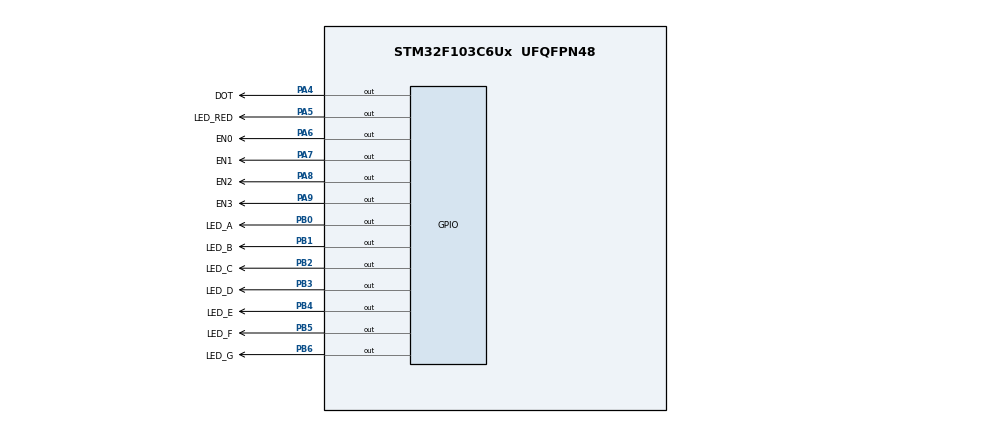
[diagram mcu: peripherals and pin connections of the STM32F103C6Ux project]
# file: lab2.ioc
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Mcu.Family=STM32F1
Mcu.Name=STM32F103C6Ux
Mcu.Package=UFQFPN48
NVIC.PriorityGroup=NVIC_PRIORITYGROUP_4
NVIC.TIM2_IRQn=true\:0\:0\:false\:false\:true\:true\:true
PA4.GPIO_Label=DOT
PA4.Signal=GPIO_Output
PA5.GPIO_Label=LED_RED
PA5.Signal=GPIO_Output
PA6.GPIO_Label=EN0
PA6.Signal=GPIO_Output
PA7.GPIO_Label=EN1
PA7.Signal=GPIO_Output
PA8.GPIO_Label=EN2
PA8.Signal=GPIO_Output
PA9.GPIO_Label=EN3
PA9.Signal=GPIO_Output
PB0.GPIO_Label=LED_A
PB0.Signal=GPIO_Output
PB1.GPIO_Label=LED_B
PB1.Signal=GPIO_Output
PB2.GPIO_Label=LED_C
PB2.Signal=GPIO_Output
PB3.GPIO_Label=LED_D
PB3.Signal=GPIO_Output
PB4.GPIO_Label=LED_E
PB4.Signal=GPIO_Output
PB5.GPIO_Label=LED_F
PB5.Signal=GPIO_Output
PB6.GPIO_Label=LED_G
PB6.Signal=GPIO_Output
ProjectManager.HeapSize=0x200
ProjectManager.StackSize=0x400
ProjectManager.TargetToolchain=STM32CubeIDE
RCC.APB1Freq_Value=8000000
RCC.APB2Freq_Value=8000000
TIM2.Period=9
TIM2.Prescaler=7999
VP_SYS_VS_ND.Mode=No_Debug
VP_TIM2_VS_ClockSourceINT.Mode=Internal
board=custom

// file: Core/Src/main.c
/* USER CODE BEGIN Header */
/**
  ******************************************************************************
  * @file           : main.c
  * @brief          : Main program body
  ******************************************************************************
  * @attention
  *
  * <h2><center>&copy; Copyright (c) 2022 STMicroelectronics.
  * All rights reserved.</center></h2>
  *
  * This software component is licensed by ST under BSD 3-Clause license,
  * the "License"; You may not use this file except in compliance with the
  * License. You may obtain a copy of the License at:
  *                        opensource.org/licenses/BSD-3-Clause
  *
  ******************************************************************************
  */
/* USER CODE END Header */
#include "main.h"
#include "software_timer.h"

TIM_HandleTypeDef htim2;

void SystemClock_Config(void);
static void MX_GPIO_Init(void);
static void MX_TIM2_Init(void);

/* USER CODE BEGIN 0 */
/* USER CODE BEGIN 0 */
void display7SEG(int num){
	if (num == 0){
		HAL_GPIO_WritePin(LED_A_GPIO_Port, LED_A_Pin, GPIO_PIN_RESET);
		HAL_GPIO_WritePin(LED_B_GPIO_Port, LED_B_Pin, GPIO_PIN_RESET);
		HAL_GPIO_WritePin(LED_C_GPIO_Port, LED_C_Pin, GPIO_PIN_RESET);
		HAL_GPIO_WritePin(LED_D_GPIO_Port, LED_D_Pin, GPIO_PIN_RESET);
		HAL_GPIO_WritePin(LED_E_GPIO_Port, LED_E_Pin, GPIO_PIN_RESET);
		HAL_GPIO_WritePin(LED_F_GPIO_Port, LED_F_Pin, GPIO_PIN_RESET);
		HAL_GPIO_WritePin(LED_G_GPIO_Port, LED_G_Pin, GPIO_PIN_SET);
	}
	else  if (num == 1){
		HAL_GPIO_WritePin(LED_A_GPIO_Port, LED_A_Pin, GPIO_PIN_SET);
		HAL_GPIO_WritePin(LED_B_GPIO_Port, LED_B_Pin, GPIO_PIN_RESET);
		HAL_GPIO_WritePin(LED_C_GPIO_Port, LED_C_Pin, GPIO_PIN_RESET);
		HAL_GPIO_WritePin(LED_D_GPIO_Port, LED_D_Pin, GPIO_PIN_SET);
		HAL_GPIO_WritePin(LED_E_GPIO_Port, LED_E_Pin, GPIO_PIN_SET);
		HAL_GPIO_WritePin(LED_F_GPIO_Port, LED_F_Pin, GPIO_PIN_SET);
		HAL_GPIO_WritePin(LED_G_GPIO_Port, LED_G_Pin, GPIO_PIN_SET);
	}
	else  if (num == 2){
		HAL_GPIO_WritePin(LED_A_GPIO_Port, LED_A_Pin, GPIO_PIN_RESET);
		HAL_GPIO_WritePin(LED_B_GPIO_Port, LED_B_Pin, GPIO_PIN_RESET);
		HAL_GPIO_WritePin(LED_C_GPIO_Port, LED_C_Pin, GPIO_PIN_SET);
		HAL_GPIO_WritePin(LED_D_GPIO_Port, LED_D_Pin, GPIO_PIN_RESET);
		HAL_GPIO_WritePin(LED_E_GPIO_Port, LED_E_Pin, GPIO_PIN_RESET);
		HAL_GPIO_WritePin(LED_F_GPIO_Port, LED_F_Pin, GPIO_PIN_SET);
		HAL_GPIO_WritePin(LED_G_GPIO_Port, LED_G_Pin, GPIO_PIN_RESET);
	}
	else  if (num == 3){
		HAL_GPIO_WritePin(LED_A_GPIO_Port, LED_A_Pin, GPIO_PIN_RESET);
		HAL_GPIO_WritePin(LED_B_GPIO_Port, LED_B_Pin, GPIO_PIN_RESET);
		HAL_GPIO_WritePin(LED_C_GPIO_Port, LED_C_Pin, GPIO_PIN_RESET);
		HAL_GPIO_WritePin(LED_D_GPIO_Port, LED_D_Pin, GPIO_PIN_RESET);
		HAL_GPIO_WritePin(LED_E_GPIO_Port, LED_E_Pin, GPIO_PIN_SET);
		HAL_GPIO_WritePin(LED_F_GPIO_Port, LED_F_Pin, GPIO_PIN_SET);
		HAL_GPIO_WritePin(LED_G_GPIO_Port, LED_G_Pin, GPIO_PIN_RESET);
	}
	else  if (num == 4){
		HAL_GPIO_WritePin(LED_A_GPIO_Port, LED_A_Pin, GPIO_PIN_SET);
		HAL_GPIO_WritePin(LED_B_GPIO_Port, LED_B_Pin, GPIO_PIN_RESET);
		HAL_GPIO_WritePin(LED_C_GPIO_Port, LED_C_Pin, GPIO_PIN_RESET);
		HAL_GPIO_WritePin(LED_D_GPIO_Port, LED_D_Pin, GPIO_PIN_SET);
		HAL_GPIO_WritePin(LED_E_GPIO_Port, LED_E_Pin, GPIO_PIN_SET);
		HAL_GPIO_WritePin(LED_F_GPIO_Port, LED_F_Pin, GPIO_PIN_RESET);
		HAL_GPIO_WritePin(LED_G_GPIO_Port, LED_G_Pin, GPIO_PIN_RESET);
	}
	else  if (num == 5){
		HAL_GPIO_WritePin(LED_A_GPIO_Port, LED_A_Pin, GPIO_PIN_RESET);
		HAL_GPIO_WritePin(LED_B_GPIO_Port, LED_B_Pin, GPIO_PIN_SET);
		HAL_GPIO_WritePin(LED_C_GPIO_Port, LED_C_Pin, GPIO_PIN_RESET);
		HAL_GPIO_WritePin(LED_D_GPIO_Port, LED_D_Pin, GPIO_PIN_RESET);
		HAL_GPIO_WritePin(LED_E_GPIO_Port, LED_E_Pin, GPIO_PIN_SET);
		HAL_GPIO_WritePin(LED_F_GPIO_Port, LED_F_Pin, GPIO_PIN_RESET);
		HAL_GPIO_WritePin(LED_G_GPIO_Port, LED_G_Pin, GPIO_PIN_RESET);
	}
	else  if (num == 6){
		HAL_GPIO_WritePin(LED_A_GPIO_Port, LED_A_Pin, GPIO_PIN_RESET);
		HAL_GPIO_WritePin(LED_B_GPIO_Port, LED_B_Pin, GPIO_PIN_SET);
		HAL_GPIO_WritePin(LED_C_GPIO_Port, LED_C_Pin, GPIO_PIN_RESET);
		HAL_GPIO_WritePin(LED_D_GPIO_Port, LED_D_Pin, GPIO_PIN_RESET);
		HAL_GPIO_WritePin(LED_E_GPIO_Port, LED_E_Pin, GPIO_PIN_RESET);
		HAL_GPIO_WritePin(LED_F_GPIO_Port, LED_F_Pin, GPIO_PIN_RESET);
		HAL_GPIO_WritePin(LED_G_GPIO_Port, LED_G_Pin, GPIO_PIN_RESET);
	}
	else  if (num == 7){
		HAL_GPIO_WritePin(LED_A_GPIO_Port, LED_A_Pin, GPIO_PIN_RESET);
		HAL_GPIO_WritePin(LED_B_GPIO_Port, LED_B_Pin, GPIO_PIN_RESET);
		HAL_GPIO_WritePin(LED_C_GPIO_Port, LED_C_Pin, GPIO_PIN_RESET);
		HAL_GPIO_WritePin(LED_D_GPIO_Port, LED_D_Pin, GPIO_PIN_SET);
		HAL_GPIO_WritePin(LED_E_GPIO_Port, LED_E_Pin, GPIO_PIN_SET);
		HAL_GPIO_WritePin(LED_F_GPIO_Port, LED_F_Pin, GPIO_PIN_SET);
		HAL_GPIO_WritePin(LED_G_GPIO_Port, LED_G_Pin, GPIO_PIN_SET);
	}
	else  if (num == 8){
		HAL_GPIO_WritePin(LED_A_GPIO_Port, LED_A_Pin, GPIO_PIN_RESET);
		HAL_GPIO_WritePin(LED_B_GPIO_Port, LED_B_Pin, GPIO_PIN_RESET);
		HAL_GPIO_WritePin(LED_C_GPIO_Port, LED_C_Pin, GPIO_PIN_RESET);
		HAL_GPIO_WritePin(LED_D_GPIO_Port, LED_D_Pin, GPIO_PIN_RESET);
		HAL_GPIO_WritePin(LED_E_GPIO_Port, LED_E_Pin, GPIO_PIN_RESET);
		HAL_GPIO_WritePin(LED_F_GPIO_Port, LED_F_Pin, GPIO_PIN_RESET);
		HAL_GPIO_WritePin(LED_G_GPIO_Port, LED_G_Pin, GPIO_PIN_RESET);
	}
	else  if (num == 9){
		HAL_GPIO_WritePin(LED_A_GPIO_Port, LED_A_Pin, GPIO_PIN_RESET);
		HAL_GPIO_WritePin(LED_B_GPIO_Port, LED_B_Pin, GPIO_PIN_RESET);
		HAL_GPIO_WritePin(LED_C_GPIO_Port, LED_C_Pin, GPIO_PIN_RESET);
		HAL_GPIO_WritePin(LED_D_GPIO_Port, LED_D_Pin, GPIO_PIN_RESET);
		HAL_GPIO_WritePin(LED_E_GPIO_Port, LED_E_Pin, GPIO_PIN_SET);
		HAL_GPIO_WritePin(LED_F_GPIO_Port, LED_F_Pin, GPIO_PIN_RESET);
		HAL_GPIO_WritePin(LED_G_GPIO_Port, LED_G_Pin, GPIO_PIN_RESET);
	}
}

const int MAX_LED = 4;
int index_led = 0;
int led_buffer [4] = {5, 6, 7, 8};
void update7SEG ( int index ){
	switch ( index ){
		case 0: {
			display7SEG(led_buffer[index]);
		// Display the first 7 SEG with led_buffer [0]
			break ;
		}
		case 1:{
			display7SEG(led_buffer[index]);
		// Display the second 7 SEG with led_buffer [1]
			break ;
		}
		case 2:{
			display7SEG(led_buffer[index]);
		// Display the third 7 SEG with led_buffer [2]
			break ;
		}
		case 3:{
			display7SEG(led_buffer[index]);
		// Display the forth 7 SEG with led_buffer [3]
			break ;
		}
		default :{
		break ;
		}
	}
}

void HAL_TIM_PeriodElapsedCallback ( TIM_HandleTypeDef * htim )
{
	timerRun();
	//counter --;
	//if (counter == 40) {
		//HAL_GPIO_TogglePin(EN0_GPIO_Port, EN0_Pin);
		//display7SEG(num);
		//num++;
	//}
	//if (counter == 15) {
	//		HAL_GPIO_TogglePin(EN1_GPIO_Port, EN1_Pin);
			//display7SEG(num);
			//num++;
	//}

	/////////////////
//	if( counter <= 0){
//	counter = 50;
//	HAL_GPIO_TogglePin(LED_RED_GPIO_Port, LED_RED_Pin);
//
//	if (flag == 0 ){
//		//HAL_GPIO_TogglePin(EN0_GPIO_Port, EN0_Pin);
//		HAL_GPIO_WritePin(EN0_GPIO_Port, EN0_Pin, GPIO_PIN_RESET);
//		HAL_GPIO_WritePin(EN1_GPIO_Port, EN1_Pin, GPIO_PIN_SET);
//		HAL_GPIO_WritePin(EN2_GPIO_Port, EN2_Pin, GPIO_PIN_SET);
//		HAL_GPIO_WritePin(EN3_GPIO_Port, EN3_Pin, GPIO_PIN_SET);
//		flag = 1;
//		display7SEG(1);
//		HAL_GPIO_TogglePin(DOT_GPIO_Port, DOT_Pin);
//	}
//	else if (flag == 1) {
//		//HAL_GPIO_TogglePin(EN1_GPIO_Port, EN1_Pin);
//		HAL_GPIO_WritePin(EN0_GPIO_Port, EN0_Pin, GPIO_PIN_SET);
//		HAL_GPIO_WritePin(EN1_GPIO_Port, EN1_Pin, GPIO_PIN_RESET);
//		HAL_GPIO_WritePin(EN2_GPIO_Port, EN2_Pin, GPIO_PIN_SET);
//		HAL_GPIO_WritePin(EN3_GPIO_Port, EN3_Pin, GPIO_PIN_SET);
//		flag = 2;
//		display7SEG(2);
//	}
//	else if (flag == 2) {
//		//HAL_GPIO_TogglePin(EN1_GPIO_Port, EN1_Pin);
//		HAL_GPIO_WritePin(EN0_GPIO_Port, EN0_Pin, GPIO_PIN_SET);
//		HAL_GPIO_WritePin(EN1_GPIO_Port, EN1_Pin, GPIO_PIN_SET);
//		HAL_GPIO_WritePin(EN2_GPIO_Port, EN2_Pin, GPIO_PIN_RESET);
//		HAL_GPIO_WritePin(EN3_GPIO_Port, EN3_Pin, GPIO_PIN_SET);
//		flag = 3;
//		display7SEG(3);
//		HAL_GPIO_TogglePin(DOT_GPIO_Port, DOT_Pin);
//	}
//	else if (flag == 3) {
//			//HAL_GPIO_TogglePin(EN1_GPIO_Port, EN1_Pin);
//			HAL_GPIO_WritePin(EN0_GPIO_Port, EN0_Pin, GPIO_PIN_SET);
//			HAL_GPIO_WritePin(EN1_GPIO_Port, EN1_Pin, GPIO_PIN_SET);
//			HAL_GPIO_WritePin(EN2_GPIO_Port, EN2_Pin, GPIO_PIN_SET);
//			HAL_GPIO_WritePin(EN3_GPIO_Port, EN3_Pin, GPIO_PIN_RESET);
//			flag = 0;
//			display7SEG(0);
//		}

	//////////////////

	/*display7SEG(num);
	num++;
		if (num>=10) {
			num = 0;
		}*/
	//if (counter == 50 ) {
	//		HAL_GPIO_TogglePin(EN0_GPIO_Port, EN0_Pin);
		//}

}
/* USER CODE END 0 */

int main(void)
{

  /* MCU Configuration--------------------------------------------------------*/

  /* Reset of all peripherals, Initializes the Flash interface and the Systick. */
  HAL_Init();

  /* Configure the system clock */
  SystemClock_Config();

  /* Initialize all configured peripherals */
  MX_GPIO_Init();
  MX_TIM2_Init();
  /* USER CODE BEGIN 2 */
  HAL_TIM_Base_Start_IT (& htim2 );
  int status = 0;
  setTimer1(100);
  setTimer2(50);
  setTimer3(100);
  /* USER CODE END 2 */

  /* Infinite loop */
  /* USER CODE BEGIN WHILE */
  while (1)
  {
	  if (timer1_flag == 1){
	 		  	HAL_GPIO_TogglePin(LED_RED_GPIO_Port, LED_RED_Pin);
	 		  	setTimer1(100);
	 	  }

	  if (timer2_flag == 1){
		  switch (status) {
		  case 0: {
					display7SEG(1);
					HAL_GPIO_WritePin(EN0_GPIO_Port, EN0_Pin, GPIO_PIN_RESET);
					HAL_GPIO_WritePin(EN1_GPIO_Port, EN1_Pin, GPIO_PIN_SET);
					HAL_GPIO_WritePin(EN2_GPIO_Port, EN2_Pin, GPIO_PIN_SET);
					HAL_GPIO_WritePin(EN3_GPIO_Port, EN3_Pin, GPIO_PIN_SET);
					status = 1;
					update7SEG(index_led);
					index_led++;
					break;
		  }
		  case 1: {
				  	display7SEG(2);
					HAL_GPIO_WritePin(EN0_GPIO_Port, EN0_Pin, GPIO_PIN_SET);
					HAL_GPIO_WritePin(EN1_GPIO_Port, EN1_Pin, GPIO_PIN_RESET);
					HAL_GPIO_WritePin(EN2_GPIO_Port, EN2_Pin, GPIO_PIN_SET);
					HAL_GPIO_WritePin(EN3_GPIO_Port, EN3_Pin, GPIO_PIN_SET);
					status = 2;
					update7SEG(index_led);
					index_led++;
					break;
		  }
		  case 2:{
				  display7SEG(3);
					HAL_GPIO_WritePin(EN0_GPIO_Port, EN0_Pin, GPIO_PIN_SET);
					HAL_GPIO_WritePin(EN1_GPIO_Port, EN1_Pin, GPIO_PIN_SET);
					HAL_GPIO_WritePin(EN2_GPIO_Port, EN2_Pin, GPIO_PIN_RESET);
					HAL_GPIO_WritePin(EN3_GPIO_Port, EN3_Pin, GPIO_PIN_SET);
					status = 3;
					update7SEG(index_led);
					index_led++;
					break;
		  }
		  case 3:{
				  display7SEG(0);
					HAL_GPIO_WritePin(EN0_GPIO_Port, EN0_Pin, GPIO_PIN_SET);
					HAL_GPIO_WritePin(EN1_GPIO_Port, EN1_Pin, GPIO_PIN_SET);
					HAL_GPIO_WritePin(EN2_GPIO_Port, EN2_Pin, GPIO_PIN_SET);
					HAL_GPIO_WritePin(EN3_GPIO_Port, EN3_Pin, GPIO_PIN_RESET);
					status = 0;
					update7SEG(index_led);
					index_led = 0;
					break;
		  }
		  default:
			  break;
		  }
		  setTimer2(25);
	  }
	 if (timer3_flag == 1){
		 HAL_GPIO_TogglePin(DOT_GPIO_Port, DOT_Pin);
		 setTimer3(100);
	 }

    /* USER CODE END WHILE */

  }
}

void SystemClock_Config(void)
{
  RCC_OscInitTypeDef RCC_OscInitStruct = {0};
  RCC_ClkInitTypeDef RCC_ClkInitStruct = {0};

  /** Initializes the RCC Oscillators according to the specified parameters
  * in the RCC_OscInitTypeDef structure.
  */
  RCC_OscInitStruct.OscillatorType = RCC_OSCILLATORTYPE_HSI;
  RCC_OscInitStruct.HSIState = RCC_HSI_ON;
  RCC_OscInitStruct.HSICalibrationValue = RCC_HSICALIBRATION_DEFAULT;
  RCC_OscInitStruct.PLL.PLLState = RCC_PLL_NONE;
  if (HAL_RCC_OscConfig(&RCC_OscInitStruct) != HAL_OK)
  {
    Error_Handler();
  }
  /** Initializes the CPU, AHB and APB buses clocks
  */
  RCC_ClkInitStruct.ClockType = RCC_CLOCKTYPE_HCLK|RCC_CLOCKTYPE_SYSCLK
                              |RCC_CLOCKTYPE_PCLK1|RCC_CLOCKTYPE_PCLK2;
  RCC_ClkInitStruct.SYSCLKSource = RCC_SYSCLKSOURCE_HSI;
  RCC_ClkInitStruct.AHBCLKDivider = RCC_SYSCLK_DIV1;
  RCC_ClkInitStruct.APB1CLKDivider = RCC_HCLK_DIV1;
  RCC_ClkInitStruct.APB2CLKDivider = RCC_HCLK_DIV1;

  if (HAL_RCC_ClockConfig(&RCC_ClkInitStruct, FLASH_LATENCY_0) != HAL_OK)
  {
    Error_Handler();
  }
}

static void MX_TIM2_Init(void)
{

  TIM_ClockConfigTypeDef sClockSourceConfig = {0};
  TIM_MasterConfigTypeDef sMasterConfig = {0};

  htim2.Instance = TIM2;
  htim2.Init.Prescaler = 7999;
  htim2.Init.CounterMode = TIM_COUNTERMODE_UP;
  htim2.Init.Period = 9;
  htim2.Init.ClockDivision = TIM_CLOCKDIVISION_DIV1;
  htim2.Init.AutoReloadPreload = TIM_AUTORELOAD_PRELOAD_DISABLE;
  if (HAL_TIM_Base_Init(&htim2) != HAL_OK)
  {
    Error_Handler();
  }
  sClockSourceConfig.ClockSource = TIM_CLOCKSOURCE_INTERNAL;
  if (HAL_TIM_ConfigClockSource(&htim2, &sClockSourceConfig) != HAL_OK)
  {
    Error_Handler();
  }
  sMasterConfig.MasterOutputTrigger = TIM_TRGO_RESET;
  sMasterConfig.MasterSlaveMode = TIM_MASTERSLAVEMODE_DISABLE;
  if (HAL_TIMEx_MasterConfigSynchronization(&htim2, &sMasterConfig) != HAL_OK)
  {
    Error_Handler();
  }

}

static void MX_GPIO_Init(void)
{
  GPIO_InitTypeDef GPIO_InitStruct = {0};

  /* GPIO Ports Clock Enable */
  __HAL_RCC_GPIOA_CLK_ENABLE();
  __HAL_RCC_GPIOB_CLK_ENABLE();

  /*Configure GPIO pin Output Level */
  HAL_GPIO_WritePin(GPIOA, DOT_Pin|LED_RED_Pin|EN0_Pin|EN1_Pin
                          |EN2_Pin|EN3_Pin, GPIO_PIN_RESET);

  /*Configure GPIO pin Output Level */
  HAL_GPIO_WritePin(GPIOB, LED_A_Pin|LED_B_Pin|LED_C_Pin|LED_D_Pin
                          |LED_E_Pin|LED_F_Pin|LED_G_Pin, GPIO_PIN_RESET);

  /*Configure GPIO pins : DOT_Pin LED_RED_Pin EN0_Pin EN1_Pin
                           EN2_Pin EN3_Pin */
  GPIO_InitStruct.Pin = DOT_Pin|LED_RED_Pin|EN0_Pin|EN1_Pin
                          |EN2_Pin|EN3_Pin;
  GPIO_InitStruct.Mode = GPIO_MODE_OUTPUT_PP;
  GPIO_InitStruct.Pull = GPIO_NOPULL;
  GPIO_InitStruct.Speed = GPIO_SPEED_FREQ_LOW;
  HAL_GPIO_Init(GPIOA, &GPIO_InitStruct);

  /*Configure GPIO pins : LED_A_Pin LED_B_Pin LED_C_Pin LED_D_Pin
                           LED_E_Pin LED_F_Pin LED_G_Pin */
  GPIO_InitStruct.Pin = LED_A_Pin|LED_B_Pin|LED_C_Pin|LED_D_Pin
                          |LED_E_Pin|LED_F_Pin|LED_G_Pin;
  GPIO_InitStruct.Mode = GPIO_MODE_OUTPUT_PP;
  GPIO_InitStruct.Pull = GPIO_NOPULL;
  GPIO_InitStruct.Speed = GPIO_SPEED_FREQ_LOW;
  HAL_GPIO_Init(GPIOB, &GPIO_InitStruct);

}

/* USER CODE BEGIN 4 */
/* USER CODE BEGIN 4 */
//int counter = 50;
//int num = 0;
//int flag = 0;

/* USER CODE END 4 */

void Error_Handler(void)
{
  __disable_irq();
  while (1)
  {
  }
}

/************************ (C) COPYRIGHT STMicroelectronics *****END OF FILE****/
